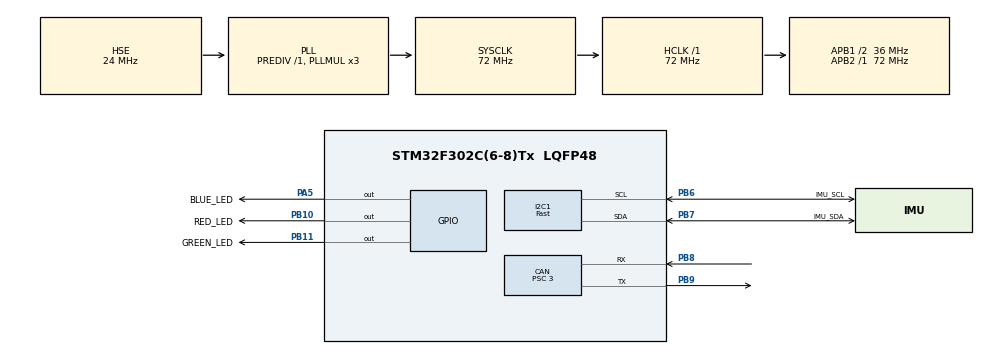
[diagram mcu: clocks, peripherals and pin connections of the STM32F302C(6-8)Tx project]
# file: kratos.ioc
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CAN.BS1=CAN_BS1_7TQ
CAN.BS2=CAN_BS2_4TQ
CAN.CalculateBaudRate=999999
CAN.CalculateTimeBit=1000
CAN.CalculateTimeQuantum=83.33333333333334
CAN.NART=ENABLE
CAN.Prescaler=3
I2C1.I2C_Speed_Mode=I2C_Fast
I2C1.Timing=0x0010020A
Mcu.Family=STM32F3
Mcu.Name=STM32F302C(6-8)Tx
Mcu.Package=LQFP48
NVIC.CAN_RX1_IRQn=true\:0\:0\:false\:false\:true\:true\:true\:true
NVIC.PriorityGroup=NVIC_PRIORITYGROUP_4
NVIC.TIM2_IRQn=true\:0\:0\:false\:false\:true\:true\:true\:true
PA5.GPIO_Label=BLUE_LED
PA5.Signal=GPIO_Output
PB10.GPIO_Label=RED_LED
PB10.Signal=GPIO_Output
PB11.GPIO_Label=GREEN_LED
PB11.Signal=GPIO_Output
PB6.GPIO_Label=IMU_SCL
PB6.Mode=I2C
PB6.Signal=I2C1_SCL
PB7.GPIO_Label=IMU_SDA
PB7.Mode=I2C
PB7.Signal=I2C1_SDA
PB8.Mode=CAN_Activate
PB8.Signal=CAN_RX
PB9.Mode=CAN_Activate
PB9.Signal=CAN_TX
PF0-OSC_IN.Mode=HSE-External-Oscillator
PF0-OSC_IN.Signal=RCC_OSC_IN
PF1-OSC_OUT.Mode=HSE-External-Oscillator
PF1-OSC_OUT.Signal=RCC_OSC_OUT
ProjectManager.HeapSize=0x200
ProjectManager.StackSize=0x400
ProjectManager.TargetToolchain=STM32CubeIDE
RCC.AHBFreq_Value=72000000
RCC.APB1CLKDivider=RCC_HCLK_DIV2
RCC.APB1Freq_Value=36000000
RCC.APB1TimFreq_Value=72000000
RCC.APB2Freq_Value=72000000
RCC.APB2TimFreq_Value=72000000
RCC.CortexFreq_Value=72000000
RCC.HCLKFreq_Value=72000000
RCC.HSE_VALUE=24000000
RCC.HSI_VALUE=8000000
RCC.LSE_VALUE=32768
RCC.PLLMUL=RCC_PLL_MUL3
RCC.PLLSourceVirtual=RCC_PLLSOURCE_HSE
RCC.SYSCLKFreq_VALUE=72000000
RCC.SYSCLKSourceVirtual=RCC_SYSCLKSOURCE_PLLCLK
RCC.USBFreq_Value=72000000
TIM2.Period=72000-1
TIM2.Prescaler=1000-1
VP_TIM2_VS_ClockSourceINT.Mode=Internal
board=custom

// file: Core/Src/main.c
/* USER CODE BEGIN Header */
/**
  ******************************************************************************
  * @file           : main.c
  * @brief          : Main program body
  ******************************************************************************
  * @attention
  *
  * Copyright (c) 2026 STMicroelectronics.
  * All rights reserved.
  *
  * This software is licensed under terms that can be found in the LICENSE file
  * in the root directory of this software component.
  * If no LICENSE file comes with this software, it is provided AS-IS.
  *
  ******************************************************************************
  */
/* USER CODE END Header */
#include "main.h"

/* USER CODE BEGIN Includes */

#include "can_handler.h"
#include "icm20602.h"
#include "scheduler.h"

/* USER CODE END Includes */

CAN_HandleTypeDef hcan;

I2C_HandleTypeDef hi2c1;

TIM_HandleTypeDef htim2;

/* USER CODE BEGIN PV */

ICM20602_Handle imu;
ICM20602_Data 	imu_data;

/* USER CODE END PV */

void SystemClock_Config(void);
static void MX_GPIO_Init(void);
static void MX_CAN_Init(void);
static void MX_I2C1_Init(void);
static void MX_TIM2_Init(void);

int main(void)
{

  /* MCU Configuration--------------------------------------------------------*/

  /* Reset of all peripherals, Initializes the Flash interface and the Systick. */
  HAL_Init();

  /* Configure the system clock */
  SystemClock_Config();

  /* Initialize all configured peripherals */
  MX_GPIO_Init();
  MX_CAN_Init();
  MX_I2C1_Init();
  MX_TIM2_Init();
  /* USER CODE BEGIN 2 */

  HAL_CAN_Start(&hcan);
  HAL_CAN_ActivateNotification(&hcan, CAN_IT_RX_FIFO1_MSG_PENDING);

  ICM20602_Config cfg = {
	  .hi2c           = &hi2c1,
	  .addr           = ICM_I2C_ADDR_LOW,
	  .gyro_fsr       = ICM_GYRO_FSR_2000,
	  .accel_fsr      = ICM_ACCEL_FSR_16G,
	  .dlpf           = ICM_DLPF_92HZ,
	  .sample_rate_hz = 500,
  };

  ICM20602_Init(&imu, &cfg);

  HAL_TIM_Base_Start_IT(&htim2);
  /* USER CODE END 2 */

  /* Infinite loop */
  while (1)
  {

    /* USER CODE BEGIN 3 */

	  // -----------------------------------------------------------------------
	  // IMU
	  // -----------------------------------------------------------------------

	  if (flag.imu){
		  flag.imu = 0; //Reset flag

		  if (ICM20602_ReadAll(&imu, &imu_data) == HAL_OK)
			  ICM20602_SendCAN(&hcan, &imu_data);

	  }

  }
  /* USER CODE END 3 */
}

void SystemClock_Config(void)
{
  RCC_OscInitTypeDef RCC_OscInitStruct = {0};
  RCC_ClkInitTypeDef RCC_ClkInitStruct = {0};
  RCC_PeriphCLKInitTypeDef PeriphClkInit = {0};

  /** Initializes the RCC Oscillators according to the specified parameters
  * in the RCC_OscInitTypeDef structure.
  */
  RCC_OscInitStruct.OscillatorType = RCC_OSCILLATORTYPE_HSI|RCC_OSCILLATORTYPE_HSE;
  RCC_OscInitStruct.HSEState = RCC_HSE_ON;
  RCC_OscInitStruct.HSEPredivValue = RCC_HSE_PREDIV_DIV1;
  RCC_OscInitStruct.HSIState = RCC_HSI_ON;
  RCC_OscInitStruct.HSICalibrationValue = RCC_HSICALIBRATION_DEFAULT;
  RCC_OscInitStruct.PLL.PLLState = RCC_PLL_ON;
  RCC_OscInitStruct.PLL.PLLSource = RCC_PLLSOURCE_HSE;
  RCC_OscInitStruct.PLL.PLLMUL = RCC_PLL_MUL3;
  if (HAL_RCC_OscConfig(&RCC_OscInitStruct) != HAL_OK)
  {
    Error_Handler();
  }

  /** Initializes the CPU, AHB and APB buses clocks
  */
  RCC_ClkInitStruct.ClockType = RCC_CLOCKTYPE_HCLK|RCC_CLOCKTYPE_SYSCLK
                              |RCC_CLOCKTYPE_PCLK1|RCC_CLOCKTYPE_PCLK2;
  RCC_ClkInitStruct.SYSCLKSource = RCC_SYSCLKSOURCE_PLLCLK;
  RCC_ClkInitStruct.AHBCLKDivider = RCC_SYSCLK_DIV1;
  RCC_ClkInitStruct.APB1CLKDivider = RCC_HCLK_DIV2;
  RCC_ClkInitStruct.APB2CLKDivider = RCC_HCLK_DIV1;

  if (HAL_RCC_ClockConfig(&RCC_ClkInitStruct, FLASH_LATENCY_2) != HAL_OK)
  {
    Error_Handler();
  }
  PeriphClkInit.PeriphClockSelection = RCC_PERIPHCLK_I2C1;
  PeriphClkInit.I2c1ClockSelection = RCC_I2C1CLKSOURCE_HSI;
  if (HAL_RCCEx_PeriphCLKConfig(&PeriphClkInit) != HAL_OK)
  {
    Error_Handler();
  }
}

static void MX_CAN_Init(void)
{

  hcan.Instance = CAN;
  hcan.Init.Prescaler = 3;
  hcan.Init.Mode = CAN_MODE_NORMAL;
  hcan.Init.SyncJumpWidth = CAN_SJW_1TQ;
  hcan.Init.TimeSeg1 = CAN_BS1_7TQ;
  hcan.Init.TimeSeg2 = CAN_BS2_4TQ;
  hcan.Init.TimeTriggeredMode = DISABLE;
  hcan.Init.AutoBusOff = DISABLE;
  hcan.Init.AutoWakeUp = DISABLE;
  hcan.Init.AutoRetransmission = ENABLE;
  hcan.Init.ReceiveFifoLocked = DISABLE;
  hcan.Init.TransmitFifoPriority = DISABLE;
  if (HAL_CAN_Init(&hcan) != HAL_OK)
  {
    Error_Handler();
  }
  /* USER CODE BEGIN CAN_Init 2 */

  CAN_CONFIG(&hcan);

  /* USER CODE END CAN_Init 2 */

}

static void MX_I2C1_Init(void)
{

  hi2c1.Instance = I2C1;
  hi2c1.Init.Timing = 0x0010020A;
  hi2c1.Init.OwnAddress1 = 0;
  hi2c1.Init.AddressingMode = I2C_ADDRESSINGMODE_7BIT;
  hi2c1.Init.DualAddressMode = I2C_DUALADDRESS_DISABLE;
  hi2c1.Init.OwnAddress2 = 0;
  hi2c1.Init.OwnAddress2Masks = I2C_OA2_NOMASK;
  hi2c1.Init.GeneralCallMode = I2C_GENERALCALL_DISABLE;
  hi2c1.Init.NoStretchMode = I2C_NOSTRETCH_DISABLE;
  if (HAL_I2C_Init(&hi2c1) != HAL_OK)
  {
    Error_Handler();
  }

  /** Configure Analogue filter
  */
  if (HAL_I2CEx_ConfigAnalogFilter(&hi2c1, I2C_ANALOGFILTER_ENABLE) != HAL_OK)
  {
    Error_Handler();
  }

  /** Configure Digital filter
  */
  if (HAL_I2CEx_ConfigDigitalFilter(&hi2c1, 0) != HAL_OK)
  {
    Error_Handler();
  }

}

static void MX_TIM2_Init(void)
{

  TIM_ClockConfigTypeDef sClockSourceConfig = {0};
  TIM_MasterConfigTypeDef sMasterConfig = {0};

  htim2.Instance = TIM2;
  htim2.Init.Prescaler = 1000-1;
  htim2.Init.CounterMode = TIM_COUNTERMODE_UP;
  htim2.Init.Period = 72000-1;
  htim2.Init.ClockDivision = TIM_CLOCKDIVISION_DIV1;
  htim2.Init.AutoReloadPreload = TIM_AUTORELOAD_PRELOAD_DISABLE;
  if (HAL_TIM_Base_Init(&htim2) != HAL_OK)
  {
    Error_Handler();
  }
  sClockSourceConfig.ClockSource = TIM_CLOCKSOURCE_INTERNAL;
  if (HAL_TIM_ConfigClockSource(&htim2, &sClockSourceConfig) != HAL_OK)
  {
    Error_Handler();
  }
  sMasterConfig.MasterOutputTrigger = TIM_TRGO_RESET;
  sMasterConfig.MasterSlaveMode = TIM_MASTERSLAVEMODE_DISABLE;
  if (HAL_TIMEx_MasterConfigSynchronization(&htim2, &sMasterConfig) != HAL_OK)
  {
    Error_Handler();
  }

}

static void MX_GPIO_Init(void)
{
  GPIO_InitTypeDef GPIO_InitStruct = {0};

  /* GPIO Ports Clock Enable */
  __HAL_RCC_GPIOF_CLK_ENABLE();
  __HAL_RCC_GPIOA_CLK_ENABLE();
  __HAL_RCC_GPIOB_CLK_ENABLE();

  /*Configure GPIO pin Output Level */
  HAL_GPIO_WritePin(BLUE_LED_GPIO_Port, BLUE_LED_Pin, GPIO_PIN_RESET);

  /*Configure GPIO pin Output Level */
  HAL_GPIO_WritePin(GPIOB, RED_LED_Pin|GREEN_LED_Pin, GPIO_PIN_RESET);

  /*Configure GPIO pin : BLUE_LED_Pin */
  GPIO_InitStruct.Pin = BLUE_LED_Pin;
  GPIO_InitStruct.Mode = GPIO_MODE_OUTPUT_PP;
  GPIO_InitStruct.Pull = GPIO_NOPULL;
  GPIO_InitStruct.Speed = GPIO_SPEED_FREQ_LOW;
  HAL_GPIO_Init(BLUE_LED_GPIO_Port, &GPIO_InitStruct);

  /*Configure GPIO pins : RED_LED_Pin GREEN_LED_Pin */
  GPIO_InitStruct.Pin = RED_LED_Pin|GREEN_LED_Pin;
  GPIO_InitStruct.Mode = GPIO_MODE_OUTPUT_PP;
  GPIO_InitStruct.Pull = GPIO_NOPULL;
  GPIO_InitStruct.Speed = GPIO_SPEED_FREQ_LOW;
  HAL_GPIO_Init(GPIOB, &GPIO_InitStruct);

}

/* USER CODE BEGIN 4 */

void HAL_CAN_RxFifo1MsgPendingCallback(CAN_HandleTypeDef *hcan) {
	CAN_RxHeaderTypeDef rxHeader;
	uint8_t rxData[8];

	if (HAL_CAN_GetRxMessage(hcan, CAN_RX_FIFO1, &rxHeader, rxData) == HAL_OK) {
		CAN_Process_Incoming(rxHeader.ExtId, rxData, rxHeader.DLC);
	}
}

void HAL_TIM_PeriodElapsedCallback(TIM_HandleTypeDef* htim){

	//Gets called every 1s
	if(htim == &htim2)
		Scheduler_Tick();
}

/* USER CODE END 4 */

void Error_Handler(void)
{
  __disable_irq();
  while (1)
  {
  }
}
